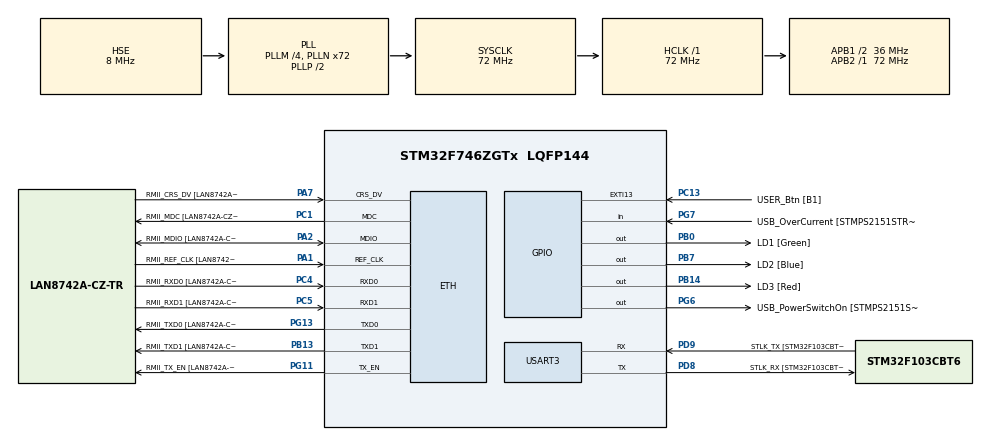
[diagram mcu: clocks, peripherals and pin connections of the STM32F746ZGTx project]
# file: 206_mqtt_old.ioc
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ETH.MediaInterface=ETH_MEDIA_INTERFACE_RMII
ETH.PHY_Name=LAN8742A_PHY_ADDRESS
ETH.PHY_Value=0
ETH.PhyAddress=0
FREERTOS.INCLUDE_vTaskDelayUntil=1
FREERTOS.Tasks01=defaultTask,0,256,StartDefaultTask,Default,NULL,Dynamic,NULL,NULL
LWIP.LWIP_DNS=0
LWIP.MEMP_NUM_SYS_TIMEOUT=5
LWIP.Version=v2.1.2_Cube
Mcu.Family=STM32F7
Mcu.Name=STM32F746ZGTx
Mcu.Package=LQFP144
NVIC.ETH_IRQn=true\:5\:0\:false\:false\:true\:true\:false\:true
NVIC.PriorityGroup=NVIC_PRIORITYGROUP_4
NVIC.TIM2_IRQn=true\:0\:0\:false\:false\:true\:false\:false\:true
NVIC.TimeBase=TIM2_IRQn
NVIC.TimeBaseIP=TIM2
PA1.GPIO_Label=RMII_REF_CLK [LAN8742A-CZ-TR_REFCLK0]
PA1.Mode=RMII
PA1.Signal=ETH_REF_CLK
PA10.GPIO_Label=USB_ID
PA10.Signal=USB_OTG_FS_ID
PA11.GPIO_Label=USB_DM
PA11.Signal=USB_OTG_FS_DM
PA12.GPIO_Label=USB_DP
PA12.Signal=USB_OTG_FS_DP
PA13.GPIO_Label=TMS
PA13.Mode=Serial_Wire
PA13.Signal=SYS_JTMS-SWDIO
PA14.GPIO_Label=TCK
PA14.Mode=Serial_Wire
PA14.Signal=SYS_JTCK-SWCLK
PA2.GPIO_Label=RMII_MDIO [LAN8742A-CZ-TR_MDIO]
PA2.Mode=RMII
PA2.Signal=ETH_MDIO
PA7.GPIO_Label=RMII_CRS_DV [LAN8742A-CZ-TR_CRS_DV]
PA7.Mode=RMII
PA7.Signal=ETH_CRS_DV
PA8.GPIO_Label=USB_SOF [TP1]
PA8.Signal=USB_OTG_FS_SOF
PA9.GPIO_Label=USB_VBUS
PA9.Signal=USB_OTG_FS_VBUS
PB0.GPIO_Label=LD1 [Green]
PB0.Signal=GPIO_Output
PB13.GPIO_Label=RMII_TXD1 [LAN8742A-CZ-TR_TXD1]
PB13.Mode=RMII
PB13.Signal=ETH_TXD1
PB14.GPIO_Label=LD3 [Red]
PB14.Signal=GPIO_Output
PB3.GPIO_Label=SW0
PB3.Signal=SYS_JTDO-SWO
PB7.GPIO_Label=LD2 [Blue]
PB7.Signal=GPIO_Output
PC1.GPIO_Label=RMII_MDC [LAN8742A-CZ-TR_MDC]
PC1.Mode=RMII
PC1.Signal=ETH_MDC
PC13.GPIO_Label=USER_Btn [B1]
PC13.Signal=GPXTI13
PC14/OSC32_IN.Mode=LSE-External-Oscillator
PC14/OSC32_IN.Signal=RCC_OSC32_IN
PC15/OSC32_OUT.Mode=LSE-External-Oscillator
PC15/OSC32_OUT.Signal=RCC_OSC32_OUT
PC4.GPIO_Label=RMII_RXD0 [LAN8742A-CZ-TR_RXD0]
PC4.Mode=RMII
PC4.Signal=ETH_RXD0
PC5.GPIO_Label=RMII_RXD1 [LAN8742A-CZ-TR_RXD1]
PC5.Mode=RMII
PC5.Signal=ETH_RXD1
PD8.GPIO_Label=STLK_RX [STM32F103CBT6_PA3]
PD8.Mode=Asynchronous
PD8.Signal=USART3_TX
PD9.GPIO_Label=STLK_TX [STM32F103CBT6_PA2]
PD9.Mode=Asynchronous
PD9.Signal=USART3_RX
PG11.GPIO_Label=RMII_TX_EN [LAN8742A-CZ-TR_TXEN]
PG11.Mode=RMII
PG11.Signal=ETH_TX_EN
PG13.GPIO_Label=RMII_TXD0 [LAN8742A-CZ-TR_TXD0]
PG13.Mode=RMII
PG13.Signal=ETH_TXD0
PG6.GPIO_Label=USB_PowerSwitchOn [STMPS2151STR_EN]
PG6.Signal=GPIO_Output
PG7.GPIO_Label=USB_OverCurrent [STMPS2151STR_FAULT]
PG7.Signal=GPIO_Input
PH0/OSC_IN.GPIO_Label=MCO [STM32F103CBT6_PA8]
PH0/OSC_IN.Mode=HSE-External-Clock-Source
PH0/OSC_IN.Signal=RCC_OSC_IN
PH1/OSC_OUT.Mode=HSE-External-Clock-Source
PH1/OSC_OUT.Signal=RCC_OSC_OUT
ProjectManager.HeapSize=0x200
ProjectManager.StackSize=0x400
ProjectManager.TargetToolchain=STM32CubeIDE
RCC.48MHZClocksFreq_Value=24000000
RCC.AHBFreq_Value=72000000
RCC.APB1CLKDivider=RCC_HCLK_DIV2
RCC.APB1Freq_Value=36000000
RCC.APB1TimFreq_Value=72000000
RCC.APB2Freq_Value=72000000
RCC.APB2TimFreq_Value=72000000
RCC.CortexFreq_Value=72000000
RCC.HCLKFreq_Value=72000000
RCC.HSE_VALUE=8000000
RCC.HSI_VALUE=16000000
RCC.PLLM=4
RCC.PLLMUL=RCC_PLL_MUL9
RCC.PLLN=72
RCC.PLLQ=3
RCC.PLLSourceVirtual=RCC_PLLSOURCE_HSE
RCC.PRESCALERUSB=RCC_USBCLKSOURCE_PLL_DIV1_5
RCC.SYSCLKFreq_VALUE=72000000
RCC.SYSCLKSource=RCC_SYSCLKSOURCE_PLLCLK
RCC.SYSCLKSourceVirtual=RCC_SYSCLKSOURCE_PLLCLK
RCC.USBFreq_Value=48000000
RCC.VCOOutputFreq_Value=144000000
USART3.VirtualMode-Asynchronous=VM_ASYNC
VP_FREERTOS_VS_CMSIS_V1.Mode=CMSIS_V1
VP_LWIP_VS_Enabled.Mode=Enabled
VP_SYS_VS_tim2.Mode=TIM2
board=NUCLEO-F746ZG

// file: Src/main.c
/* USER CODE BEGIN Header */
/**
  ******************************************************************************
  * @file           : main.c
  * @brief          : Main program body
  ******************************************************************************
  * @attention
  *
  * <h2><center>&copy; Copyright (c) 2020 STMicroelectronics.
  * All rights reserved.</center></h2>
  *
  * This software component is licensed by ST under Ultimate Liberty license
  * SLA0044, the "License"; You may not use this file except in compliance with
  * the License. You may obtain a copy of the License at:
  *                             www.st.com/SLA0044
  *
  ******************************************************************************
  */
/* USER CODE END Header */
#include "main.h"
#include "cmsis_os.h"
#include "lwip.h"

/* USER CODE BEGIN Includes */
#include "lwip/apps/mqtt_priv.h"
#include "lwip/apps/mqtt.h"
#include <string.h>

/* USER CODE END Includes */

UART_HandleTypeDef huart3;

osThreadId defaultTaskHandle;
/* USER CODE BEGIN PV */
mqtt_client_t mqtt_client_state;

/* USER CODE END PV */

void SystemClock_Config(void);
static void MX_GPIO_Init(void);
static void MX_USART3_UART_Init(void);
void StartDefaultTask(void const * argument);

/* USER CODE BEGIN 0 */

/*
 * Based on: http://www.nongnu.org/lwip/2_0_x/group__mqtt.html
 * MQTT client for lwIP
 * Author: Erik Andersson
 * Details of the MQTT protocol can be found at:
 * http://docs.oasis-open.org/mqtt/mqtt/v3.1.1/os/mqtt-v3.1.1-os.html
 *
 */

/* The idea is to demultiplex topic and create some reference to be used in data callbacks
   Example here uses a global variable, better would be to use a member in arg
   If RAM and CPU budget allows it, the easiest implementation might be to just take a copy of
   the topic string and use it in mqtt_incoming_data_cb
*/
static void mqtt_incoming_publish_cb(void *arg, const char *topic, u32_t tot_len)
{
  // first this function is called with the topic string
  // in our case the topic can be "test/bradley_edu" or something more specific
  // such as "test/bradley_edu/xxx_something_more_specific_here_xxx"
  // then the function mqtt_incoming_data_cb is called.
}

static void mqtt_incoming_data_cb(void *arg, const u8_t *data, u16_t len, u8_t flags)
{
  if(flags & MQTT_DATA_FLAG_LAST) {
    /* Last fragment of payload received (or whole part if payload fits receive buffer
       See MQTT_VAR_HEADER_BUFFER_LEN)  */

    /* Warning! the incoming data is not \0 terminated !!!
     * If the data is short copy it and terminate with \0
     * then you can use strxxx and atoi, etc. safely
     * OTHERWISE, use strNxxx functions like strncmp, but cannot use atoi function
     */
    if ( len<20 ) {
      static char buffer[21];
      strncpy(buffer, (const char *)data, len);
      buffer[len]='\0';

      // here we execute specific actions for each expected data
      if( strncmp( buffer, "LRED=", 5)==0 ) {
          if ( atoi(&buffer[5])==1 ) {
              HAL_GPIO_WritePin(GPIOB, GPIO_PIN_14, GPIO_PIN_SET);
          } else {
              HAL_GPIO_WritePin(GPIOB, GPIO_PIN_14, GPIO_PIN_RESET);
          }
      } else {
        // ignore unrecognized data
      }
    }

  } else {
    /* Handle fragmented payload, store in buffer, write to file or whatever */
  }
  HAL_UART_Transmit(&huart3, (void*)"Sin", 3, 2);
}

static void mqtt_sub_request_cb(void *arg, err_t result)
{
  /* Normal behavior would be to take some action if subscribe fails like
     notifying user, retry subscribe or disconnect from server */
    if (result != ERR_OK ) {
        mqtt_disconnect(arg);
        // the task loop will try to reconnect and subscribe again
        HAL_UART_Transmit(&huart3, (void*)"Ser", 3, 2);
    }
}

static void example_do_connect(mqtt_client_t *client);

static void mqtt_connection_cb(mqtt_client_t *client, void *arg, mqtt_connection_status_t status)
{
  err_t err;
  if(status == MQTT_CONNECT_ACCEPTED) {
    /* Setup callback for incoming publish requests */
    mqtt_set_inpub_callback(client, mqtt_incoming_publish_cb, mqtt_incoming_data_cb, arg);

    /* Subscribe to a topic named "subtopic" with QoS level 1, call mqtt_sub_request_cb with result */
    err = mqtt_subscribe(client, "test/bradley_edu", 1, mqtt_sub_request_cb, client); // arg=client for calling disconnect on failure

    if(err != ERR_OK) {
        // ..
        // Note: either an immediate error that something went very wrong or,
        //        otherwise, the error code -4 telling that the actual status
        //        will be reported later when the callback function is called
        HAL_UART_Transmit(&huart3, (void*)"Sfa", 3, 2);
    }
    HAL_UART_Transmit(&huart3, (void*)"Cok", 3, 2);
  } else {
    /* Its more nice to be connected, so try to reconnect */
    example_do_connect(client);
    HAL_UART_Transmit(&huart3, (void*)"Cer", 3, 2);
  }
}

static void example_do_connect(mqtt_client_t *client)
{
  struct mqtt_connect_client_info_t ci;
  err_t err;

  /* Setup an empty client info structure */
  memset(&ci, 0, sizeof(ci));

  /* Minimal amount of information required is client identifier, so set it here */
  ci.client_id   = "st32f7-userID"; 	// each end note MUST have an unique short client ID!
  ci.client_user = 0;  // = "UserID";   // =0; must point to NULL when not used
  ci.client_pass = 0;  // = "password"; // =0; must point to NULL when not used
  ci.keep_alive  = 0;  // optional, already set to 0

  /* Initiate client and connect to server, if this fails immediately an error code is returned
     otherwise mqtt_connection_cb will be called with connection result after attempting
     to establish a connection with the server.
     For now MQTT version 3.1.1 is always used */

  ip_addr_t mqtt_server_addr;
  // uncomment only one option below:
     // Choice 1: test.mosquitto.org => 5.196.95.208
  // IP4_ADDR( &mqtt_server_addr, 5, 196, 95, 208 );
     // Choice 2: mqtt.eclipseprojects.io => 137.135.83.217
  // IP4_ADDR( &mqtt_server_addr, 137, 135, 83, 217 );
     // Choice 3: a server on a local computer
  // 10.106.128.61
  IP4_ADDR( &mqtt_server_addr, 10, 106, 128, 61);
  err = mqtt_client_connect(client, &mqtt_server_addr, MQTT_PORT, mqtt_connection_cb, 0, &ci);
  HAL_UART_Transmit(&huart3, (void*)"Ctr", 3, 2);

  /* For now just print the result code if something goes wrong */
  if(err != ERR_OK) {
    // ..
    // Note: either an immediate error that something went very wrong or,
    //        otherwise, the error code -4 telling that the actual status
    //        will be reported later when the callback function is called
    HAL_UART_Transmit(&huart3, (void*)"Cfa", 3, 2);
  }
}

/* Called when publish is complete either with success or failure */
static void mqtt_pub_request_cb(void *arg, err_t result)
{
  if(result != ERR_OK) {
    // .. the message did not get out
    HAL_UART_Transmit(&huart3, (void*)"Per", 3, 2);
  }
}

void example_publish(mqtt_client_t *client, const char * payload, void *arg)
{
  err_t err;
  u8_t qos = 2; /* 0 1 or 2, see MQTT specification */
  u8_t retain = 0; /* No don't retain such crappy payload... */
  err = mqtt_publish(client, "test/bradley_edu", payload, strlen(payload), qos, retain, mqtt_pub_request_cb, arg);
  if(err != ERR_OK) {
    // ..
    // Note: either an immediate error that something went very wrong or,
    //        otherwise, the error code -4 telling that the actual status
    //        will be reported later when the callback function is called
  }
  HAL_UART_Transmit(&huart3, (void*)"Pub", 3, 2);
}

/* USER CODE END 0 */

int main(void)
{

  /* MCU Configuration--------------------------------------------------------*/

  /* Reset of all peripherals, Initializes the Flash interface and the Systick. */
  HAL_Init();

  /* Configure the system clock */
  SystemClock_Config();

  /* Initialize all configured peripherals */
  MX_GPIO_Init();
  MX_USART3_UART_Init();
  /* USER CODE BEGIN 2 */
  MX_LWIP_Init();

  /* USER CODE END 2 */

  /* Create the thread(s) */
  /* definition and creation of defaultTask */
  osThreadDef(defaultTask, StartDefaultTask, osPriorityNormal, 0, 256);
  defaultTaskHandle = osThreadCreate(osThread(defaultTask), NULL);

  /* Start scheduler */
  osKernelStart();

  /* We should never get here as control is now taken by the scheduler */
  /* Infinite loop */
  while (1)
  {

  }
}

void SystemClock_Config(void)
{
  RCC_OscInitTypeDef RCC_OscInitStruct = {0};
  RCC_ClkInitTypeDef RCC_ClkInitStruct = {0};

  /** Configure LSE Drive Capability
  */
  HAL_PWR_EnableBkUpAccess();
  /** Configure the main internal regulator output voltage
  */
  __HAL_RCC_PWR_CLK_ENABLE();
  __HAL_PWR_VOLTAGESCALING_CONFIG(PWR_REGULATOR_VOLTAGE_SCALE3);
  /** Initializes the RCC Oscillators according to the specified parameters
  * in the RCC_OscInitTypeDef structure.
  */
  RCC_OscInitStruct.OscillatorType = RCC_OSCILLATORTYPE_HSE;
  RCC_OscInitStruct.HSEState = RCC_HSE_BYPASS;
  RCC_OscInitStruct.PLL.PLLState = RCC_PLL_ON;
  RCC_OscInitStruct.PLL.PLLSource = RCC_PLLSOURCE_HSE;
  RCC_OscInitStruct.PLL.PLLM = 4;
  RCC_OscInitStruct.PLL.PLLN = 72;
  RCC_OscInitStruct.PLL.PLLP = RCC_PLLP_DIV2;
  RCC_OscInitStruct.PLL.PLLQ = 3;
  if (HAL_RCC_OscConfig(&RCC_OscInitStruct) != HAL_OK)
  {
    Error_Handler();
  }
  /** Initializes the CPU, AHB and APB buses clocks
  */
  RCC_ClkInitStruct.ClockType = RCC_CLOCKTYPE_HCLK|RCC_CLOCKTYPE_SYSCLK
                              |RCC_CLOCKTYPE_PCLK1|RCC_CLOCKTYPE_PCLK2;
  RCC_ClkInitStruct.SYSCLKSource = RCC_SYSCLKSOURCE_PLLCLK;
  RCC_ClkInitStruct.AHBCLKDivider = RCC_SYSCLK_DIV1;
  RCC_ClkInitStruct.APB1CLKDivider = RCC_HCLK_DIV2;
  RCC_ClkInitStruct.APB2CLKDivider = RCC_HCLK_DIV1;

  if (HAL_RCC_ClockConfig(&RCC_ClkInitStruct, FLASH_LATENCY_2) != HAL_OK)
  {
    Error_Handler();
  }
}

static void MX_USART3_UART_Init(void)
{

  huart3.Instance = USART3;
  huart3.Init.BaudRate = 115200;
  huart3.Init.WordLength = UART_WORDLENGTH_8B;
  huart3.Init.StopBits = UART_STOPBITS_1;
  huart3.Init.Parity = UART_PARITY_NONE;
  huart3.Init.Mode = UART_MODE_TX_RX;
  huart3.Init.HwFlowCtl = UART_HWCONTROL_NONE;
  huart3.Init.OverSampling = UART_OVERSAMPLING_16;
  huart3.Init.OneBitSampling = UART_ONE_BIT_SAMPLE_DISABLE;
  huart3.AdvancedInit.AdvFeatureInit = UART_ADVFEATURE_NO_INIT;
  if (HAL_UART_Init(&huart3) != HAL_OK)
  {
    Error_Handler();
  }

}

static void MX_GPIO_Init(void)
{
  GPIO_InitTypeDef GPIO_InitStruct = {0};

  /* GPIO Ports Clock Enable */
  __HAL_RCC_GPIOC_CLK_ENABLE();
  __HAL_RCC_GPIOH_CLK_ENABLE();
  __HAL_RCC_GPIOA_CLK_ENABLE();
  __HAL_RCC_GPIOB_CLK_ENABLE();
  __HAL_RCC_GPIOD_CLK_ENABLE();
  __HAL_RCC_GPIOG_CLK_ENABLE();

  /*Configure GPIO pin Output Level */
  HAL_GPIO_WritePin(GPIOB, LD1_Pin|LD3_Pin|LD2_Pin, GPIO_PIN_RESET);

  /*Configure GPIO pin Output Level */
  HAL_GPIO_WritePin(USB_PowerSwitchOn_GPIO_Port, USB_PowerSwitchOn_Pin, GPIO_PIN_RESET);

  /*Configure GPIO pin : USER_Btn_Pin */
  GPIO_InitStruct.Pin = USER_Btn_Pin;
  GPIO_InitStruct.Mode = GPIO_MODE_IT_RISING;
  GPIO_InitStruct.Pull = GPIO_NOPULL;
  HAL_GPIO_Init(USER_Btn_GPIO_Port, &GPIO_InitStruct);

  /*Configure GPIO pins : LD1_Pin LD3_Pin LD2_Pin */
  GPIO_InitStruct.Pin = LD1_Pin|LD3_Pin|LD2_Pin;
  GPIO_InitStruct.Mode = GPIO_MODE_OUTPUT_PP;
  GPIO_InitStruct.Pull = GPIO_NOPULL;
  GPIO_InitStruct.Speed = GPIO_SPEED_FREQ_LOW;
  HAL_GPIO_Init(GPIOB, &GPIO_InitStruct);

  /*Configure GPIO pin : USB_PowerSwitchOn_Pin */
  GPIO_InitStruct.Pin = USB_PowerSwitchOn_Pin;
  GPIO_InitStruct.Mode = GPIO_MODE_OUTPUT_PP;
  GPIO_InitStruct.Pull = GPIO_NOPULL;
  GPIO_InitStruct.Speed = GPIO_SPEED_FREQ_LOW;
  HAL_GPIO_Init(USB_PowerSwitchOn_GPIO_Port, &GPIO_InitStruct);

  /*Configure GPIO pin : USB_OverCurrent_Pin */
  GPIO_InitStruct.Pin = USB_OverCurrent_Pin;
  GPIO_InitStruct.Mode = GPIO_MODE_INPUT;
  GPIO_InitStruct.Pull = GPIO_NOPULL;
  HAL_GPIO_Init(USB_OverCurrent_GPIO_Port, &GPIO_InitStruct);

  /*Configure GPIO pins : USB_SOF_Pin USB_ID_Pin USB_DM_Pin USB_DP_Pin */
  GPIO_InitStruct.Pin = USB_SOF_Pin|USB_ID_Pin|USB_DM_Pin|USB_DP_Pin;
  GPIO_InitStruct.Mode = GPIO_MODE_AF_PP;
  GPIO_InitStruct.Pull = GPIO_NOPULL;
  GPIO_InitStruct.Speed = GPIO_SPEED_FREQ_VERY_HIGH;
  GPIO_InitStruct.Alternate = GPIO_AF10_OTG_FS;
  HAL_GPIO_Init(GPIOA, &GPIO_InitStruct);

  /*Configure GPIO pin : USB_VBUS_Pin */
  GPIO_InitStruct.Pin = USB_VBUS_Pin;
  GPIO_InitStruct.Mode = GPIO_MODE_INPUT;
  GPIO_InitStruct.Pull = GPIO_NOPULL;
  HAL_GPIO_Init(USB_VBUS_GPIO_Port, &GPIO_InitStruct);

}

void StartDefaultTask(void const * argument)
{
  /* init code for LWIP */
  // MX_LWIP_Init();
  /* USER CODE BEGIN 5 */

  /* Infinite loop */
  GPIO_PinState old = GPIO_PIN_RESET;
  unsigned int mqtt_reconnect_cnt = 0;
  for(;;)
  {
    // periodically check if MQTT is connected and (re)connect if needed
    if ( ! mqtt_client_is_connected(&mqtt_client_state) ) {
      if (mqtt_reconnect_cnt>0) {
        mqtt_reconnect_cnt--;
      } else {
        example_do_connect(&mqtt_client_state);
        // Note: this is a non-blocking call as all of the MQTT - will not wait until connected
            // Any delay is not really needed to prevent from starting multiple attempts in parallel
            // because subsequent attempts are ignored as long as the corresponding TCP socket state
            // is not "fully disconnected"
        mqtt_reconnect_cnt = 500; // but... allow five seconds to prevent flood of requests
      }
    }
    GPIO_PinState b = HAL_GPIO_ReadPin(GPIOC, GPIO_PIN_13);
    if (b!=old) {
      if (b) {
        if ( mqtt_client_is_connected(&mqtt_client_state) ) {
          example_publish(&mqtt_client_state, "LRED=1", 0);
          osDelay(50); // to prevent flooding of packets in the TCP/IP stack buffer
        }
      } else {
        if ( mqtt_client_is_connected(&mqtt_client_state) ) {
          example_publish(&mqtt_client_state, "LRED=0", 0);
          osDelay(50); // to prevent flooding of packets in the TCP/IP stack buffer
        }
      }
      old=b;
    }
    osDelay(10); // or use vTaskDelay( 10 / portTICK_PERIOD_MS );
  }
  /* the line below is listed here only for reference as we are not going to disconnect ever */
  // mqtt_disconnect(&mqtt_client_state);

  /* USER CODE END 5 */
}

void HAL_TIM_PeriodElapsedCallback(TIM_HandleTypeDef *htim)
{
  if (htim->Instance == TIM2) {
    HAL_IncTick();
  }
}

void Error_Handler(void)
{
}
